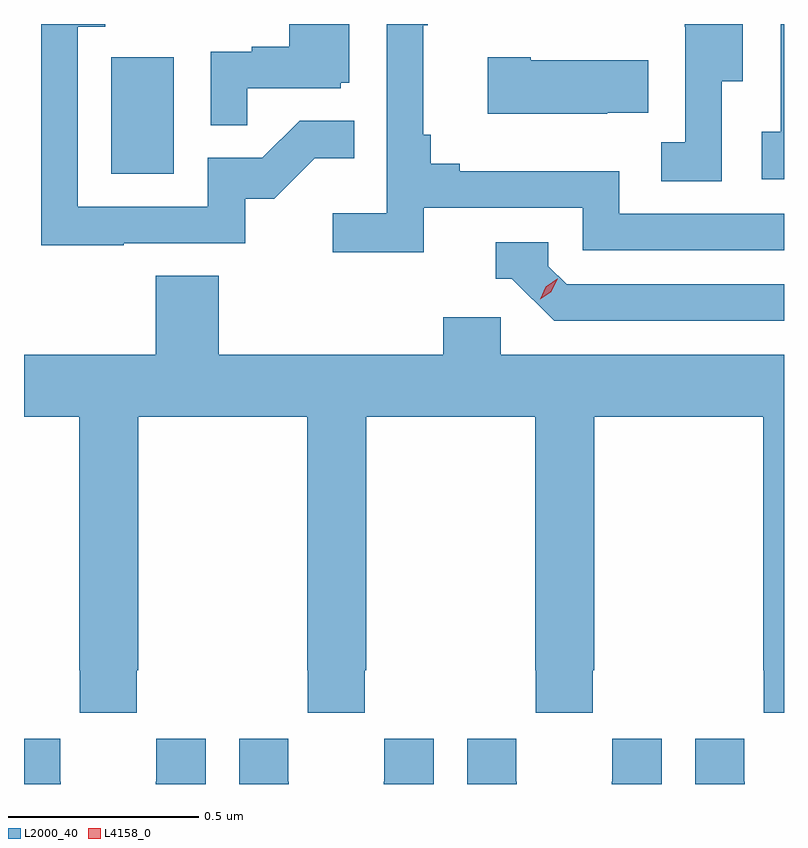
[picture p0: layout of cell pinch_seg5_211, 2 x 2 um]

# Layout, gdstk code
import gdstk
lib = gdstk.Library(unit=1e-6, precision=1e-09)
def R(c, l, rs):  # rectangles x0, y0, x1, y1
    for r in rs: c.add(gdstk.rectangle(r[:2], r[2:], *l))
def P(c, l, *ps):  # polygons
    for p in ps: c.add(gdstk.Polygon(p, *l))
L2000_40 = (2000, 40)
L4158_0 = (4158, 0)

pinch_seg5_211 = lib.new_cell('pinch_seg5_211')
R(pinch_seg5_211, L2000_40, [(996.044,896.028,996.208,896.335)])
P(pinch_seg5_211, L2000_40, [(996.401,896.253),(996.648,896.253),(996.648,896.268),(996.67,896.268),(996.67,896.422),(996.512,896.422),(996.512,896.362),(996.413,896.362),(996.413,896.349),(996.306,896.349),(996.306,896.155),(996.401,896.155)],
  [(996.866,895.938),(997.284,895.938),(997.284,895.827),(997.814,895.827),(997.814,895.923),(997.38,895.923),(997.38,896.035),(996.961,896.035),(996.961,896.054),(996.884,896.054),(996.884,896.131),(996.865,896.131),(996.865,896.419),(996.877,896.419),(996.877,896.422),(996.768,896.422),(996.768,895.924),(996.627,895.924),(996.627,895.822),(996.866,895.822)],
  [(997.814,896.422),(997.806,896.422),(997.806,896.138),(997.755,896.138),(997.755,896.013),(997.814,896.013)],
  [(996.077,895.845),(996.396,895.845),(996.396,895.962),(996.472,895.962),(996.579,896.069),(996.683,896.069),(996.683,896.168),(996.539,896.168),(996.441,896.07),(996.297,896.07),(996.297,895.941),(995.955,895.941),(995.955,896.415),(996.028,896.415),(996.028,896.422),(995.859,896.422),(995.859,895.84),(996.077,895.84)],
  [(997.65,896.272),(997.705,896.272),(997.705,896.422),(997.553,896.422),(997.553,896.415),(997.554,896.415),(997.554,896.111),(997.491,896.111),(997.491,896.008),(997.65,896.008)],
  [(997.349,896.189),(997.457,896.189),(997.457,896.326),(997.147,896.326),(997.147,896.334),(997.035,896.334),(997.035,896.186),(997.349,896.186)],
  [(997.814,895.737),(997.242,895.737),(997.194,895.785),(997.194,895.848),(997.055,895.848),(997.055,895.752),(997.098,895.752),(997.209,895.641),(997.814,895.641)],
  [(996.111,894.721),(996.114,894.721),(996.114,895.388),(996.559,895.388),(996.559,894.721),(996.561,894.721),(996.561,894.609),(996.711,894.609),(996.711,894.721),(996.714,894.721),(996.714,895.388),(997.159,895.388),(997.159,894.721),(997.161,894.721),(997.161,894.609),(997.311,894.609),(997.311,894.721),(997.314,894.721),(997.314,895.388),(997.759,895.388),(997.759,894.721),(997.761,894.721),(997.761,894.609),(997.814,894.609),(997.814,895.552),(997.068,895.552),(997.068,895.65),(996.917,895.65),(996.917,895.552),(996.326,895.552),(996.326,895.76),(996.161,895.76),(996.161,895.552),(995.814,895.552),(995.814,895.388),(995.959,895.388),(995.959,894.721),(995.961,894.721),(995.961,894.609),(996.111,894.609)],
  [(996.292,894.541),(996.162,894.541),(996.162,894.428),(996.161,894.428),(996.161,894.422),(996.292,894.422)],
  [(996.511,894.428),(996.51,894.428),(996.51,894.541),(996.38,894.541),(996.38,894.422),(996.511,894.422)],
  [(996.892,894.541),(996.762,894.541),(996.762,894.428),(996.761,894.428),(996.761,894.422),(996.892,894.422)],
  [(997.492,894.541),(997.362,894.541),(997.362,894.428),(997.361,894.428),(997.361,894.422),(997.492,894.422)],
  [(997.711,894.428),(997.71,894.428),(997.71,894.541),(997.58,894.541),(997.58,894.422),(997.711,894.422)],
  [(997.111,894.428),(997.11,894.428),(997.11,894.541),(996.98,894.541),(996.98,894.422),(997.111,894.422)],
  [(995.911,894.428),(995.91,894.428),(995.91,894.541),(995.814,894.541),(995.814,894.422),(995.911,894.422)])
P(pinch_seg5_211, L4158_0, [(997.172,895.698),(997.172,895.698),(997.187,895.731),(997.217,895.751),(997.218,895.751),(997.218,895.751),(997.202,895.718),(997.172,895.698)])

lib.write_gds('pinch_seg5_211.gds')
